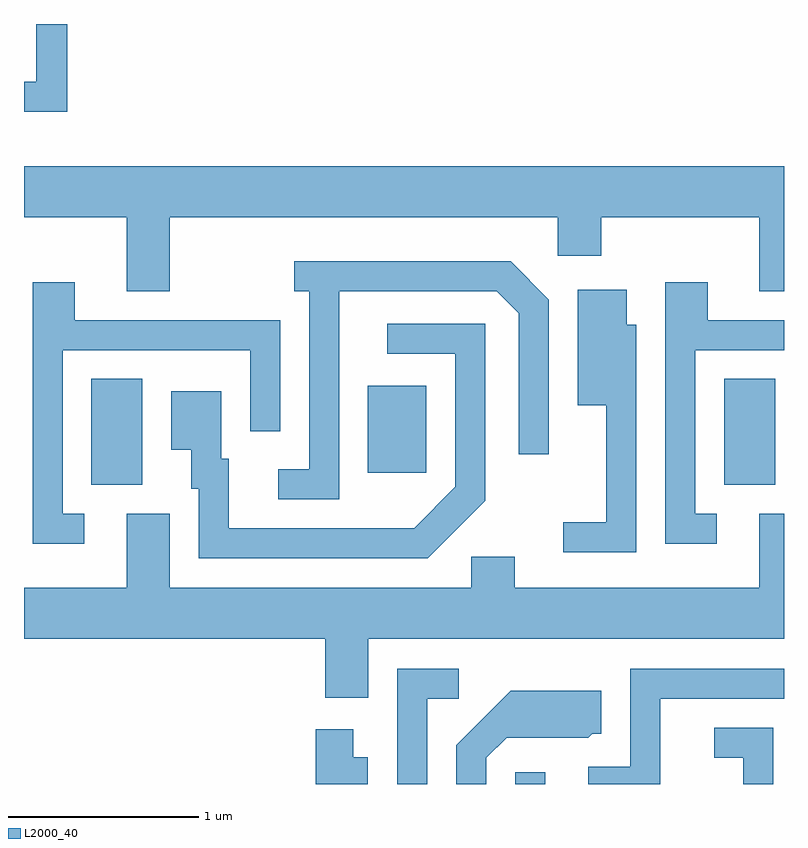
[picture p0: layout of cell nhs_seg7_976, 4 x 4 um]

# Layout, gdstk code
import gdstk
lib = gdstk.Library(unit=1e-6, precision=1e-09)
def R(c, l, rs):  # rectangles x0, y0, x1, y1
    for r in rs: c.add(gdstk.rectangle(r[:2], r[2:], *l))
def P(c, l, *ps):  # polygons
    for p in ps: c.add(gdstk.Polygon(p, *l))
L2000_40 = (2000, 40)

nhs_seg7_976 = lib.new_cell('nhs_seg7_976')
R(nhs_seg7_976, L2000_40, [(218.196,1680.252,218.354,1680.313), (215.966,1681.826,216.234,1682.384), (219.296,1681.826,219.564,1682.384), (217.421,1681.891,217.729,1682.349)])
P(nhs_seg7_976, L2000_40, [(215.839,1684.252),(215.676,1684.252),(215.676,1683.949),(215.611,1683.949),(215.611,1683.791),(215.839,1683.791)],
  [(216.379,1683.236),(218.421,1683.236),(218.421,1683.031),(218.649,1683.031),(218.649,1683.236),(219.481,1683.236),(219.481,1682.846),(219.611,1682.846),(219.611,1683.504),(215.611,1683.504),(215.611,1683.236),(216.151,1683.236),(216.151,1682.846),(216.379,1682.846)],
  [(217.269,1682.846),(218.099,1682.846),(218.216,1682.729),(218.216,1681.988),(218.374,1681.988),(218.374,1682.802),(218.172,1683.004),(217.033,1683.004),(217.033,1682.846),(217.111,1682.846),(217.111,1681.909),(216.948,1681.909),(216.948,1681.751),(217.269,1681.751)],
  [(219.258,1681.674),(219.144,1681.674),(219.144,1682.536),(219.611,1682.536),(219.611,1682.694),(219.209,1682.694),(219.209,1682.894),(218.986,1682.894),(218.986,1681.516),(219.258,1681.516)],
  [(215.928,1681.674),(215.814,1681.674),(215.814,1682.536),(216.801,1682.536),(216.801,1682.108),(216.959,1682.108),(216.959,1682.694),(215.879,1682.694),(215.879,1682.894),(215.656,1682.894),(215.656,1681.516),(215.928,1681.516)],
  [(218.834,1682.669),(218.784,1682.669),(218.784,1682.854),(218.526,1682.854),(218.526,1682.246),(218.676,1682.246),(218.676,1681.629),(218.448,1681.629),(218.448,1681.471),(218.834,1681.471)],
  [(218.039,1681.744),(218.039,1682.674),(217.523,1682.674),(217.523,1682.516),(217.881,1682.516),(217.881,1681.817),(217.664,1681.599),(216.689,1681.599),(216.689,1681.964),(216.649,1681.964),(216.649,1682.319),(216.386,1682.319),(216.386,1682.011),(216.491,1682.011),(216.491,1681.806),(216.531,1681.806),(216.531,1681.441),(217.737,1681.441)],
  [(217.424,1681.016),(219.611,1681.016),(219.611,1681.674),(219.481,1681.674),(219.481,1681.284),(218.194,1681.284),(218.194,1681.449),(217.966,1681.449),(217.966,1681.284),(216.379,1681.284),(216.379,1681.674),(216.151,1681.674),(216.151,1681.284),(215.611,1681.284),(215.611,1681.016),(217.196,1681.016),(217.196,1680.706),(217.424,1680.706)],
  [(218.959,1680.701),(219.611,1680.701),(219.611,1680.859),(218.801,1680.859),(218.801,1680.344),(218.581,1680.344),(218.581,1680.252),(218.959,1680.252)],
  [(217.734,1680.701),(217.898,1680.701),(217.898,1680.859),(217.576,1680.859),(217.576,1680.252),(217.734,1680.252)],
  [(218.044,1680.389),(218.152,1680.496),(218.582,1680.496),(218.602,1680.516),(218.649,1680.516),(218.649,1680.744),(218.174,1680.744),(217.886,1680.457),(217.886,1680.252),(218.044,1680.252)],
  [(219.554,1680.549),(219.243,1680.549),(219.243,1680.391),(219.396,1680.391),(219.396,1680.252),(219.554,1680.252)],
  [(217.419,1680.394),(217.344,1680.394),(217.344,1680.539),(217.146,1680.539),(217.146,1680.252),(217.419,1680.252)])

lib.write_gds('nhs_seg7_976.gds')
